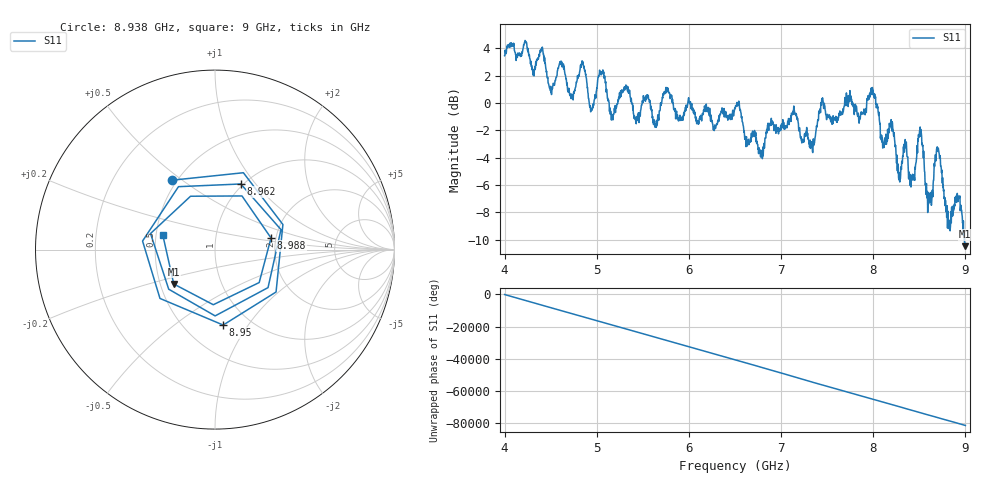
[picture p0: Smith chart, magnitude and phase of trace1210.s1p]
! Created with skrf 1.8.0 (http://scikit-rf.org).
# Hz S RI R 50.0
!freq ReS11 ImS11
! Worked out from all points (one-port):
!   1601 points, 4 GHz to 9 GHz, reference 50 ohm
!   lowest |S11| = -10.5 dB at 8.997 GHz (marker M1), VSWR 1.85, Z = 29.4 - j12.4 ohm
!   |S11| at or under -10 dB: 8.988643 GHz to end of sweep
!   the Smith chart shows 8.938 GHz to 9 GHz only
!   S11 on the Smith chart (normalised r, x): 8.938 GHz: 0.47, +0.46; 8.95 GHz: 0.76, -0.77; 8.962 GHz: 0.98, +0.84; 8.988 GHz: 1.88, +0.27; 9 GHz: 0.54, +0.10
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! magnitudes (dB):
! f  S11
! 4 GHz  3.5
! 4.625 GHz  2.6
! 4.728 GHz  0.6
! 4.85 GHz  3.0
! 4.941 GHz  -0.4
! 5.05 GHz  2.1
! 5.162 GHz  -0.8
! 5.25 GHz  0.4
! 5.875 GHz  -0.9
! 6.5 GHz  -0.4
! 6.781 GHz  -3.9
! 7.125 GHz  -0.8
! 7.334 GHz  -2.9
! 7.447 GHz  0.1
! 7.75 GHz  0.3
! 8 GHz  0.6
! 8.103 GHz  -3.3
! 8.375 GHz  -3.9
! 8.509 GHz  -1.8
! 8.606 GHz  -6.9
! 8.7 GHz  -3.3
! 8.812 GHz  -8.7
! 8.938 GHz  -6.8
! 8.95 GHz  -7.5
! 8.962 GHz  -8.1
! 8.988 GHz  -9.9
! 8.997 GHz  -10.5
! 9 GHz  -10.4
